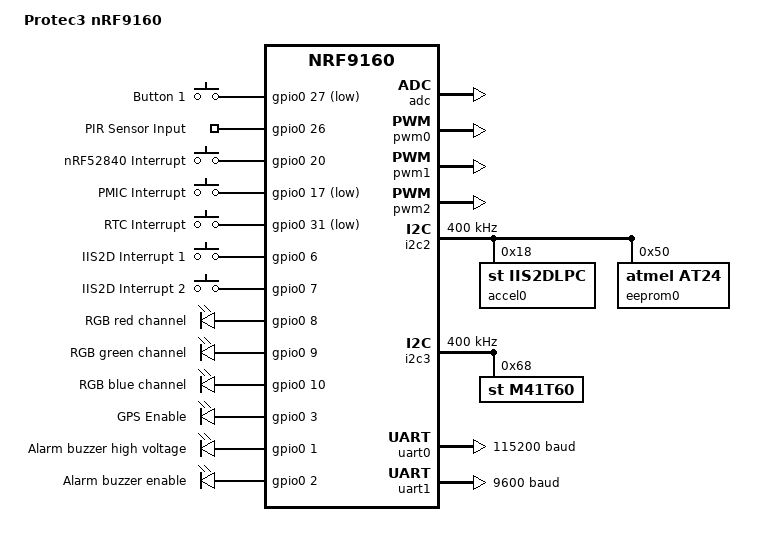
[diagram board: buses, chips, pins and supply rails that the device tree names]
/*
 * Copyright (c) 2019 Nordic Semiconductor ASA
 *
 * SPDX-License-Identifier: LicenseRef-Nordic-5-Clause
 */
#include "protec3_nrf9160_common-pinctrl.dtsi"

/ {
	model = "Protec3 nRF9160";
	compatible = "nordic,protec3-nrf9160";

	chosen {
		zephyr,console = &uart0;
		zephyr,shell-uart = &uart0;
		zephyr,uart-mcumgr = &uart0;
	};

	buttons {
		compatible = "gpio-keys";

		button0: button_0 {
			gpios = <&gpio0 27 (GPIO_ACTIVE_LOW)>;
			label = "Button 1";
		};

		pir_int: pir_int {
			gpios = <&gpio0 26 (GPIO_ACTIVE_HIGH)>;
			label = "PIR Sensor Input";
		};

		nrf52840_int: nrf52840_int {
			gpios = <&gpio0 20 (GPIO_PULL_DOWN | GPIO_ACTIVE_HIGH)>;
			label = "nRF52840 Interrupt";
		};

		pmic_int: pmic_int {
			gpios = <&gpio0 17 (GPIO_PULL_UP | GPIO_ACTIVE_LOW)>;
			label = "PMIC Interrupt";
		};

		rtc_int: rtc_int {
			gpios = <&gpio0 31 (GPIO_PULL_UP | GPIO_ACTIVE_LOW)>;
			label = "RTC Interrupt";
		};

		accel_int1: accel_int_1 {
			gpios = <&gpio0 6 (GPIO_ACTIVE_HIGH)>;
			label = "IIS2D Interrupt 1";
		};

		accel_int2: accel_int_2 {
			gpios = <&gpio0 7 (GPIO_ACTIVE_HIGH)>;
			label = "IIS2D Interrupt 2";
		};
	};

	leds {
		compatible = "gpio-leds";
		red_led: led_1 {
			gpios = <&gpio0 8 0>;
			label = "RGB red channel";
		};
		green_led: led_2 {
			gpios = <&gpio0 9 0>;
			label = "RGB green channel";
		};
		blue_led: led_3 {
			gpios = <&gpio0 10 0>;
			label = "RGB blue channel";
		};
		gps_enable: gps_enable {
			gpios = <&gpio0 3 0>;
			label = "GPS Enable";
		};
		alarm_loud: alarm_loud {
			gpios = <&gpio0 1 0>;
			label = "Alarm buzzer high voltage";
		};
		alarm_enable: alarm_enable {
			gpios = <&gpio0 2 0>;
			label = "Alarm buzzer enable";
		};
	};

	aliases {
		sw0 = &button0;
		button = &button0;
		pir-int = &pir_int;
		nrf52840-int = &nrf52840_int;
		pmic-int = &pmic_int;
		rtc-int = &rtc_int;
		accel-int1 = &accel_int1;
		accel-int2 = &accel_int2;

		gps-enable = &gps_enable;
		alarm-loud = &alarm_loud;
		alarm-enable = &alarm_enable;

		led0 = &red_led;
		led1 = &green_led;
		led2 = &blue_led;
		rgb-pwm = &pwm0;
		buzzer-pwm = &pwm1;
		nmos-pwm = &pwm2;
		mcuboot-button0 = &button0;
		mcuboot-led0 = &blue_led;
	};
};

&adc {
	status = "okay";
};

&gpiote {
	status = "okay";
};

&gpio0 {
	status = "okay";
};

/* PWM0 is intended for RGB LED control */
&pwm0 {
	status = "okay";
	pinctrl-0 = <&pwm0_default>;
	pinctrl-1 = <&pwm0_sleep>;
	pinctrl-names = "default", "sleep";
};

/* PWM1 is intended for buzzer control */
&pwm1 {
	status = "okay";
	pinctrl-0 = <&pwm1_default>;
	pinctrl-1 = <&pwm1_sleep>;
	pinctrl-names = "default", "sleep";
};

/* PWM2 is intended for NMOS transistor control */
&pwm2 {
	status = "okay";
	pinctrl-0 = <&pwm2_default>;
	pinctrl-1 = <&pwm2_sleep>;
	pinctrl-names = "default", "sleep";
};

/*
&pwm3 {
	status = "okay";
};
*/

&i2c2 {
	compatible = "nordic,nrf-twim";
	status = "okay";
	clock-frequency = <I2C_BITRATE_FAST>;

	pinctrl-0 = <&i2c2_default>;
	pinctrl-1 = <&i2c2_sleep>;
	pinctrl-names = "default", "sleep";
	accel0: iis2dlpc@18 {
		compatible = "st,iis2dlpc";
		reg = <0x18>;
/*
		irq-gpios = <&gpio0 9 GPIO_ACTIVE_HIGH>,
					<&gpio0 6 GPIO_ACTIVE_HIGH>;
*/
	};

	eeprom0: at24c08@50 {
		compatible = "atmel,at24";
		reg = <0x50>;
		size = <8192>;
		pagesize = <16>;
		address-width = <8>;
		timeout = <5>;
	};
};

&i2c3 {
	compatible = "nordic,nrf-twim";
	status = "okay";
	clock-frequency = <I2C_BITRATE_FAST>;

	pinctrl-0 = <&i2c3_default>;
	pinctrl-1 = <&i2c3_sleep>;
	pinctrl-names = "default", "sleep";
	m41t60@68 {
		compatible = "st,m41t60";
		reg = <0x68>;
	};

};

&uart0 {
	compatible = "nordic,nrf-uarte";
	current-speed = <115200>;
	status = "okay";
	pinctrl-0 = <&uart0_default>;
	pinctrl-1 = <&uart0_sleep>;
	pinctrl-names = "default", "sleep";
};

&uart1 {
	current-speed = <9600>;
	status = "okay";
	pinctrl-0 = <&uart1_default>;
	pinctrl-1 = <&uart1_sleep>;
	pinctrl-names = "default", "sleep";
};

&flash0 {
	/*
	 * For more information, see:
	 * http://docs.zephyrproject.org/devices/dts/flash_partitions.html
	 */
	partitions {
		compatible = "fixed-partitions";
		#address-cells = <1>;
		#size-cells = <1>;

		boot_partition: partition@0 {
			label = "mcuboot";
			reg = <0x00000000 0x10000>;
		};
		slot0_partition: partition@10000 {
			label = "image-0";
		};
		slot0_ns_partition: partition@40000 {
			label = "image-0-nonsecure";
		};
		slot1_partition: partition@80000 {
			label = "image-1";
		};
		slot1_ns_partition: partition@b0000 {
			label = "image-1-nonsecure";
		};
		scratch_partition: partition@f0000 {
			label = "image-scratch";
			reg = <0x000f0000 0xa000>;
		};
		storage_partition: partition@fa000 {
			label = "storage";
			reg = <0x000fa000 0x00006000>;
		};
	};
};

/ {

	reserved-memory {
		#address-cells = <1>;
		#size-cells = <1>;
		ranges;

		sram0_s: image_s@20000000 {
			/* Secure image memory */
		};

		sram0_bsd: image_bsd@20010000 {
			/* BSD (shared) memory */
		};

		sram0_ns: image_ns@20020000 {
			/* Non-Secure image memory */
		};
	};
};

/* Include partition configuration file */
#include "protec3_nrf9160_partition_conf.dts"
